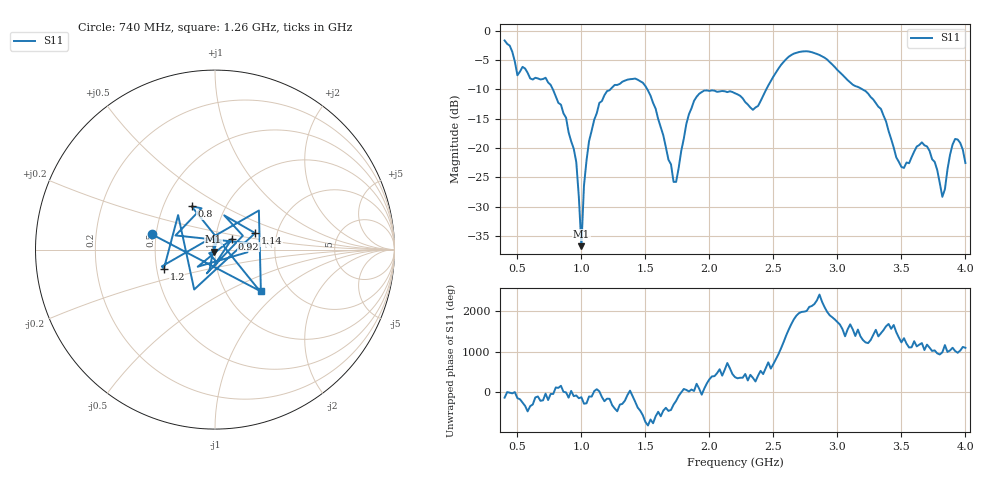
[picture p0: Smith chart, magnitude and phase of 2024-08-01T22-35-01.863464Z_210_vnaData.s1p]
!Created with skrf (http://scikit-rf.org).
# Hz S RI R 50.0
!freq ReS11 ImS11
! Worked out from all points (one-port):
!   181 points, 400 MHz to 4 GHz, reference 50 ohm
!   lowest |S11| = -36.8 dB at 1 GHz (marker M1), VSWR 1.03, Z = 49.2 - j1.18 ohm
!   |S11| at or under -10 dB: 776.6 MHz to 1.227 GHz (450.4 MHz wide, 45 % of centre); 1.515 GHz to 2.445 GHz (930.2 MHz wide, 47 % of centre); 3.194 GHz to end of sweep
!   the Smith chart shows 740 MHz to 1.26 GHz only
!   S11 on the Smith chart (normalised r, x): 740 MHz: 0.47, +0.09; 800 MHz: 0.69, +0.36; 920 MHz: 1.20, +0.15; 1.14 GHz: 1.54, +0.30; 1.2 GHz: 0.55, -0.13; 1.26 GHz: 1.45, -0.76
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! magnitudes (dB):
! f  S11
! 400 MHz  -1.7
! 500 MHz  -7.6
! 740 MHz  -8.8
! 800 MHz  -11.2
! 860 MHz  -14.1
! 920 MHz  -18.9
! 960 MHz  -22.4
! 1 GHz  -36.8
! 1.02 GHz  -26.5
! 1.04 GHz  -22.1
! 1.14 GHz  -12.3
! 1.2 GHz  -10.3
! 1.26 GHz  -9.3
! 1.3 GHz  -9.1
! 1.5 GHz  -9.5
! 1.72 GHz  -25.8
! 1.76 GHz  -23.4
! 1.9 GHz  -11.3
! 2.2 GHz  -10.7
! 2.34 GHz  -13.5
! 2.66 GHz  -3.9
! 3.1 GHz  -8.8
! 3.34 GHz  -13.3
! 3.56 GHz  -22.6
! 3.7 GHz  -19.7
! 3.82 GHz  -28.3
! 3.92 GHz  -18.5
! 4 GHz  -22.6
